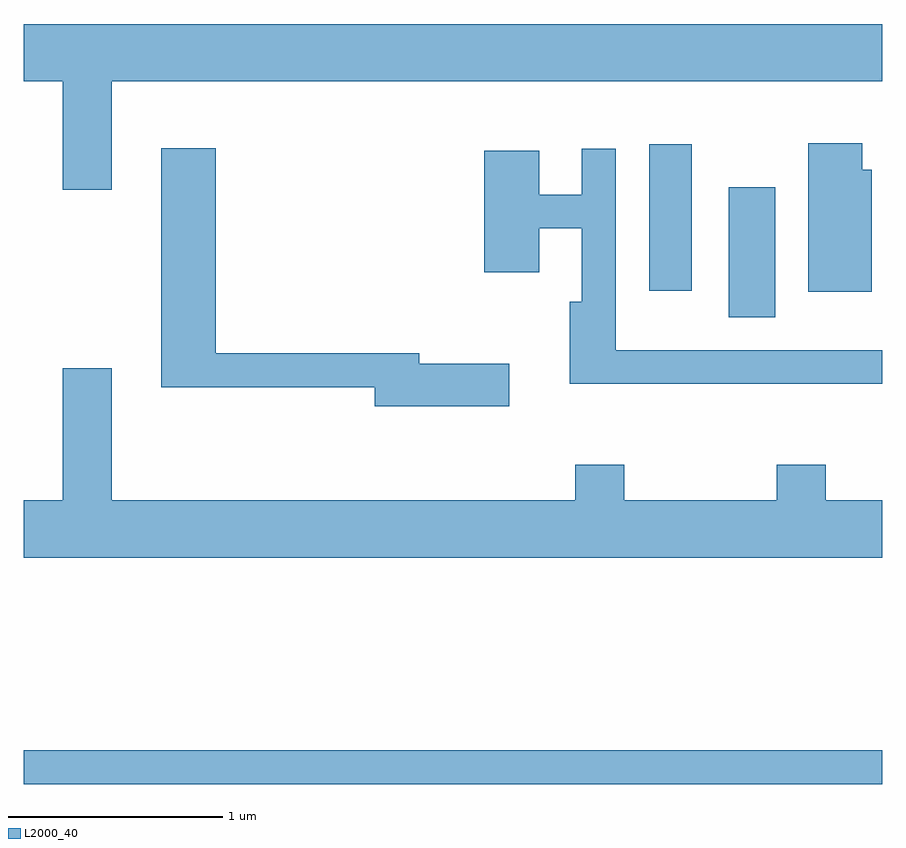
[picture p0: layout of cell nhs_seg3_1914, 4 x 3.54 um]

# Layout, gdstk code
import gdstk
lib = gdstk.Library(unit=1e-6, precision=1e-09)
def R(c, l, rs):  # rectangles x0, y0, x1, y1
    for r in rs: c.add(gdstk.rectangle(r[:2], r[2:], *l))
def P(c, l, *ps):  # polygons
    for p in ps: c.add(gdstk.Polygon(p, *l))
L2000_40 = (2000, 40)

nhs_seg3_1914 = lib.new_cell('nhs_seg3_1914')
R(nhs_seg3_1914, L2000_40, [(241.611,1136.061,245.611,1136.219), (244.896,1138.236,245.114,1138.844), (244.526,1138.361,244.724,1139.044)])
P(nhs_seg3_1914, L2000_40, [(242.019,1139.336),(245.611,1139.336),(245.611,1139.604),(241.611,1139.604),(241.611,1139.336),(241.791,1139.336),(241.791,1138.831),(242.019,1138.831)],
  [(245.564,1138.924),(245.519,1138.924),(245.519,1139.049),(245.266,1139.049),(245.266,1138.356),(245.564,1138.356)],
  [(243.874,1138.019),(243.454,1138.019),(243.454,1138.069),(242.504,1138.069),(242.504,1139.024),(242.251,1139.024),(242.251,1137.911),(243.246,1137.911),(243.246,1137.821),(243.874,1137.821)],
  [(245.611,1138.084),(244.369,1138.084),(244.369,1139.023),(244.211,1139.023),(244.211,1138.809),(244.014,1138.809),(244.014,1139.014),(243.756,1139.014),(243.756,1138.446),(244.014,1138.446),(244.014,1138.651),(244.211,1138.651),(244.211,1138.309),(244.156,1138.309),(244.156,1137.926),(245.611,1137.926)],
  [(244.181,1137.549),(244.181,1137.384),(242.019,1137.384),(242.019,1137.999),(241.791,1137.999),(241.791,1137.384),(241.611,1137.384),(241.611,1137.116),(245.611,1137.116),(245.611,1137.384),(245.349,1137.384),(245.349,1137.549),(245.121,1137.549),(245.121,1137.384),(244.409,1137.384),(244.409,1137.549)])

lib.write_gds('nhs_seg3_1914.gds')
